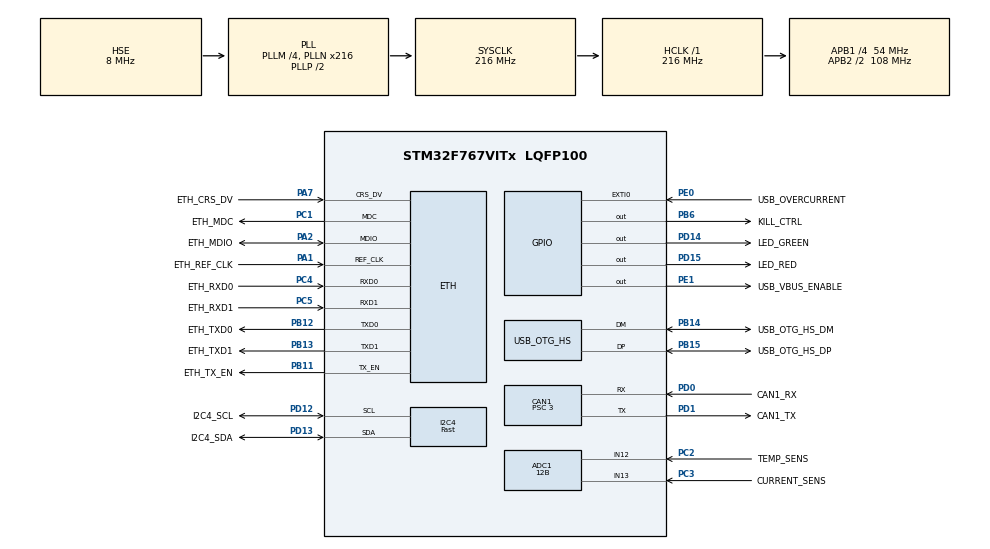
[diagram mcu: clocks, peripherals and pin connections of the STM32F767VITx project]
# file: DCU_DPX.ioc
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ADC1.Channel-0\#ChannelRegularConversion=ADC_CHANNEL_12
ADC1.Channel-1\#ChannelRegularConversion=ADC_CHANNEL_13
ADC1.ClockPrescaler=ADC_CLOCK_SYNC_PCLK_DIV4
ADC1.ContinuousConvMode=DISABLE
ADC1.DMAContinuousRequests=ENABLE
ADC1.DataAlign=ADC_DATAALIGN_RIGHT
ADC1.DiscontinuousConvMode=DISABLE
ADC1.EOCSelection=ADC_EOC_SEQ_CONV
ADC1.EnableAnalogWatchDog=false
ADC1.ExternalTrigConv=ADC_SOFTWARE_START
ADC1.ExternalTrigConvEdge=ADC_EXTERNALTRIGCONVEDGE_NONE
ADC1.InjNumberOfConversion=0
ADC1.NbrOfConversion=2
ADC1.NbrOfConversionFlag=1
ADC1.Rank-0\#ChannelRegularConversion=1
ADC1.Rank-1\#ChannelRegularConversion=2
ADC1.Resolution=ADC_RESOLUTION_12B
ADC1.SamplingTime-0\#ChannelRegularConversion=ADC_SAMPLETIME_56CYCLES
ADC1.SamplingTime-1\#ChannelRegularConversion=ADC_SAMPLETIME_56CYCLES
ADC1.ScanConvMode=ENABLE
ADC1.master=1
CAN1.BS1=CAN_BS1_15TQ
CAN1.BS2=CAN_BS2_2TQ
CAN1.CalculateTimeQuantum=55.55555555555556
CAN1.Prescaler=3
CORTEX_M7.ART_ACCLERATOR_ENABLE=1
CORTEX_M7.CPU_ICache=Disabled
CORTEX_M7.FlashInterface=TCM_Enabled
CORTEX_M7.PREFETCH_ENABLE=1
Dma.ADC1.0.Direction=DMA_PERIPH_TO_MEMORY
Dma.ADC1.0.FIFOMode=DMA_FIFOMODE_DISABLE
Dma.ADC1.0.Instance=DMA2_Stream0
Dma.ADC1.0.MemDataAlignment=DMA_MDATAALIGN_WORD
Dma.ADC1.0.MemInc=DMA_MINC_ENABLE
Dma.ADC1.0.Mode=DMA_NORMAL
Dma.ADC1.0.PeriphDataAlignment=DMA_PDATAALIGN_WORD
Dma.ADC1.0.PeriphInc=DMA_PINC_DISABLE
Dma.ADC1.0.Priority=DMA_PRIORITY_LOW
Dma.Request0=ADC1
ETH.AutoNegotiation=ETH_AUTONEGOTIATION_ENABLE
ETH.MediaInterface=ETH_MEDIA_INTERFACE_RMII
ETH.PhyAddress=0
FATFS._FS_EXFAT=0
FATFS._FS_LOCK=8
FATFS._FS_MINIMIZE=0
FATFS._USE_LABEL=1
FATFS._USE_LFN=0
FATFS._USE_MKFS=0
FATFS._USE_STRFUNC=0
FATFS._VOLUMES=2
I2C4.I2C_Speed_Mode=I2C_Fast
I2C4.OwnAddress=110
I2C4.Timing=0x10A03AC5
LWIP.CHECKSUM_BY_HARDWARE=1
LWIP.GATEWAY_ADDRESS=192.168.001.001
LWIP.IP_ADDRESS=192.168.001.010
LWIP.LWIP_DBG_MIN_LEVEL=LWIP_DBG_MASK_LEVEL
LWIP.LWIP_DHCP=0
LWIP.LWIP_NETIF_LINK_CALLBACK=1
LWIP.LWIP_NETIF_STATUS_CALLBACK=1
LWIP.LWIP_TCP=0
LWIP.MEMP_NUM_PBUF=64
LWIP.MEMP_NUM_TCP_PCB=1
LWIP.MEMP_NUM_UDP_PCB=5
LWIP.MEM_SIZE=9600
LWIP.NETMASK_ADDRESS=255.255.255.000
LWIP.PBUF_POOL_SIZE=64
LWIP.Version=v2.0.3_Cube
Mcu.Family=STM32F7
Mcu.Name=STM32F767VITx
Mcu.Package=LQFP100
NVIC.ADC_IRQn=true\:8\:0\:true\:false\:true\:true
NVIC.CAN1_RX0_IRQn=true\:1\:0\:true\:false\:true\:true
NVIC.CAN1_RX1_IRQn=true\:1\:0\:true\:false\:true\:true
NVIC.CAN1_TX_IRQn=true\:1\:0\:true\:false\:true\:true
NVIC.DMA2_Stream0_IRQn=true\:8\:0\:true\:false\:true\:false
NVIC.ETH_IRQn=true\:2\:0\:true\:false\:true\:true
NVIC.EXTI0_IRQn=true\:0\:0\:true\:false\:true\:true
NVIC.I2C4_ER_IRQn=true\:7\:0\:true\:false\:true\:true
NVIC.I2C4_EV_IRQn=true\:7\:0\:true\:false\:true\:true
NVIC.OTG_HS_EP1_IN_IRQn=true\:3\:0\:true\:false\:true\:true
NVIC.OTG_HS_EP1_OUT_IRQn=true\:3\:0\:true\:false\:true\:true
NVIC.OTG_HS_IRQn=true\:3\:0\:true\:false\:true\:false
NVIC.PriorityGroup=NVIC_PRIORITYGROUP_4
NVIC.TIM5_IRQn=true\:6\:0\:true\:false\:true\:true
NVIC.TIM6_DAC_IRQn=true\:6\:0\:true\:false\:true\:true
NVIC.TIM7_IRQn=true\:5\:0\:true\:false\:true\:true
PA1.GPIO_Label=ETH_REF_CLK
PA1.Mode=RMII
PA1.Signal=ETH_REF_CLK
PA13.GPIO_Label=SWDIO
PA13.Mode=Trace_Asynchronous_SW
PA13.Signal=SYS_JTMS-SWDIO
PA14.GPIO_Label=SWCLK
PA14.Mode=Trace_Asynchronous_SW
PA14.Signal=SYS_JTCK-SWCLK
PA2.GPIO_Label=ETH_MDIO
PA2.Mode=RMII
PA2.Signal=ETH_MDIO
PA7.GPIO_Label=ETH_CRS_DV
PA7.Mode=RMII
PA7.Signal=ETH_CRS_DV
PB11.GPIO_Label=ETH_TX_EN
PB11.Mode=RMII
PB11.Signal=ETH_TX_EN
PB12.GPIO_Label=ETH_TXD0
PB12.Mode=RMII
PB12.Signal=ETH_TXD0
PB13.GPIO_Label=ETH_TXD1
PB13.Mode=RMII
PB13.Signal=ETH_TXD1
PB14.GPIO_Label=USB_OTG_HS_DM
PB14.Mode=Host_FS
PB14.Signal=USB_OTG_HS_DM
PB15.GPIO_Label=USB_OTG_HS_DP
PB15.Mode=Host_FS
PB15.Signal=USB_OTG_HS_DP
PB3.GPIO_Label=SWO
PB3.Mode=Trace_Asynchronous_SW
PB3.Signal=SYS_JTDO-SWO
PB6.GPIO_Label=KILL_CTRL
PB6.Signal=GPIO_Output
PC1.GPIO_Label=ETH_MDC
PC1.Mode=RMII
PC1.Signal=ETH_MDC
PC2.GPIO_Label=TEMP_SENS
PC2.Signal=ADCx_IN12
PC3.GPIO_Label=CURRENT_SENS
PC3.Signal=ADCx_IN13
PC4.GPIO_Label=ETH_RXD0
PC4.Mode=RMII
PC4.Signal=ETH_RXD0
PC5.GPIO_Label=ETH_RXD1
PC5.Mode=RMII
PC5.Signal=ETH_RXD1
PD0.GPIO_Label=CAN1_RX
PD0.Mode=Master
PD0.Signal=CAN1_RX
PD1.GPIO_Label=CAN1_TX
PD1.Mode=Master
PD1.Signal=CAN1_TX
PD12.GPIO_Label=I2C4_SCL
PD12.Mode=I2C
PD12.Signal=I2C4_SCL
PD13.GPIO_Label=I2C4_SDA
PD13.Mode=I2C
PD13.Signal=I2C4_SDA
PD14.GPIO_Label=LED_GREEN
PD14.Signal=GPIO_Output
PD15.GPIO_Label=LED_RED
PD15.Signal=GPIO_Output
PE0.GPIO_Label=USB_OVERCURRENT
PE0.Signal=GPXTI0
PE1.GPIO_Label=USB_VBUS_ENABLE
PE1.Signal=GPIO_Output
PH0/OSC_IN.GPIO_Label=OSC_IN
PH0/OSC_IN.Mode=HSE-External-Oscillator
PH0/OSC_IN.Signal=RCC_OSC_IN
PH1/OSC_OUT.GPIO_Label=OSC_OUT
PH1/OSC_OUT.Mode=HSE-External-Oscillator
PH1/OSC_OUT.Signal=RCC_OSC_OUT
ProjectManager.HeapSize=0x1000
ProjectManager.StackSize=0x1200
ProjectManager.TargetToolchain=MDK-ARM V5
RCC.AHBFreq_Value=216000000
RCC.APB1CLKDivider=RCC_HCLK_DIV4
RCC.APB1Freq_Value=54000000
RCC.APB1TimFreq_Value=108000000
RCC.APB2CLKDivider=RCC_HCLK_DIV2
RCC.APB2Freq_Value=108000000
RCC.APB2TimFreq_Value=216000000
RCC.CortexFreq_Value=216000000
RCC.HCLKFreq_Value=216000000
RCC.HSE_VALUE=8000000
RCC.HSI_VALUE=16000000
RCC.I2C4CLockSelection=RCC_I2C4CLKSOURCE_SYSCLK
RCC.LSE_VALUE=32768
RCC.LockedElements=AHBOutput,EthernetPtpOutput,HCLKOutput,CortexSysOutput,FCLKCortexOutput,APB1Output,TimPrescOut1,APB2Output,TimPrescOut2,USBoutput
RCC.PLL48CLockSelection=RCC_CLK48SOURCE_PLLSAIP
RCC.PLLM=4
RCC.PLLN=216
RCC.PLLSAIP=RCC_PLLSAIP_DIV8
RCC.SDMMCClockSelection=RCC_SDMMC1CLKSOURCE_CLK48
RCC.SYSCLKFreq_VALUE=216000000
RCC.SYSCLKSource=RCC_SYSCLKSOURCE_PLLCLK
RCC.USART1CLockSelection=RCC_USART1CLKSOURCE_SYSCLK
RCC.USBFreq_Value=48000000
RCC.VCOOutputFreq_Value=432000000
RTC.AsynchPrediv=124
RTC.Date=8
RTC.Hours=12
RTC.Month=RTC_MONTH_JUNE
RTC.WeekDay=RTC_WEEKDAY_FRIDAY
RTC.Year=18
SH.ADCx_IN12.0=ADC1_IN12,IN12
SH.ADCx_IN13.0=ADC1_IN13,IN13
TIM5.Period=1079
TIM5.Prescaler=9999
TIM6.Period=10799
TIM6.Prescaler=9999
TIM7.Period=1079
TIM7.Prescaler=999
USB_HOST.BSP.number=1
USB_HOST.USBH_HandleTypeDef-MSC_HS=hUsbHostHS
USB_HOST.USBH_MAX_SIZE_CONFIGURATION-MSC_HS=512
USB_HOST.VirtualModeHS=Msc
USB_HOST0.BSP.STBoard=false
USB_HOST0.BSP.api=Unknown
USB_HOST0.BSP.i2caddr=0
USB_HOST0.BSP.instance=PE1
USB_HOST0.BSP.ip=GPIO
USB_HOST0.BSP.mode=Output
USB_HOST0.BSP.name=Drive_VBUS_HS
USB_HOST0.BSP.solution=PE1
USB_OTG_HS.VirtualMode-Host_FS=Host_FS
USB_OTG_HS.dma_enable-Host_FS=ENABLE
VP_FATFS_VS_USB.Mode=USB
VP_LWIP_VS_Enabled.Mode=Enabled
VP_RTC_VS_RTC_Activate.Mode=RTC_Enabled
VP_RTC_VS_RTC_Calendar.Mode=RTC_Calendar
VP_TIM5_VS_ClockSourceINT.Mode=Internal
VP_TIM6_VS_ClockSourceINT.Mode=Enable_Timer
VP_TIM7_VS_ClockSourceINT.Mode=Enable_Timer
VP_USB_HOST_VS_USB_HOST_MSC_HS.Mode=MSC_HS
board=DCU_DPX

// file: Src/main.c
/**
  ******************************************************************************
  * @file           : main.c
  * @brief          : Main program body
  ******************************************************************************
  * This notice applies to any and all portions of this file
  * that are not between comment pairs USER CODE BEGIN and
  * USER CODE END. Other portions of this file, whether
  * inserted by the user or by software development tools
  * are owned by their respective copyright owners.
  *
  * Copyright (c) 2018 STMicroelectronics International N.V.
  * All rights reserved.
  *
  * Redistribution and use in source and binary forms, with or without
  * modification, are permitted, provided that the following conditions are met:
  *
  * 1. Redistribution of source code must retain the above copyright notice,
  *    this list of conditions and the following disclaimer.
  * 2. Redistributions in binary form must reproduce the above copyright notice,
  *    this list of conditions and the following disclaimer in the documentation
  *    and/or other materials provided with the distribution.
  * 3. Neither the name of STMicroelectronics nor the names of other
  *    contributors to this software may be used to endorse or promote products
  *    derived from this software without specific written permission.
  * 4. This software, including modifications and/or derivative works of this
  *    software, must execute solely and exclusively on microcontroller or
  *    microprocessor devices manufactured by or for STMicroelectronics.
  * 5. Redistribution and use of this software other than as permitted under
  *    this license is void and will automatically terminate your rights under
  *    this license.
  *
  * THIS SOFTWARE IS PROVIDED BY STMICROELECTRONICS AND CONTRIBUTORS "AS IS"
  * AND ANY EXPRESS, IMPLIED OR STATUTORY WARRANTIES, INCLUDING, BUT NOT
  * LIMITED TO, THE IMPLIED WARRANTIES OF MERCHANTABILITY, FITNESS FOR A
  * PARTICULAR PURPOSE AND NON-INFRINGEMENT OF THIRD PARTY INTELLECTUAL PROPERTY
  * RIGHTS ARE DISCLAIMED TO THE FULLEST EXTENT PERMITTED BY LAW. IN NO EVENT
  * SHALL STMICROELECTRONICS OR CONTRIBUTORS BE LIABLE FOR ANY DIRECT, INDIRECT,
  * INCIDENTAL, SPECIAL, EXEMPLARY, OR CONSEQUENTIAL DAMAGES (INCLUDING, BUT NOT
  * LIMITED TO, PROCUREMENT OF SUBSTITUTE GOODS OR SERVICES; LOSS OF USE, DATA,
  * OR PROFITS; OR BUSINESS INTERRUPTION) HOWEVER CAUSED AND ON ANY THEORY OF
  * LIABILITY, WHETHER IN CONTRACT, STRICT LIABILITY, OR TORT (INCLUDING
  * NEGLIGENCE OR OTHERWISE) ARISING IN ANY WAY OUT OF THE USE OF THIS SOFTWARE,
  * EVEN IF ADVISED OF THE POSSIBILITY OF SUCH DAMAGE.
  *
  ******************************************************************************
  */
#include "main.h"
#include "stm32f7xx_hal.h"
#include "adc.h"
#include "can.h"
#include "dma.h"
#include "fatfs.h"
#include "i2c.h"
#include "lwip.h"
#include "rtc.h"
#include "tim.h"
#include "usb_host.h"
#include "gpio.h"

/* USER CODE BEGIN Includes */

// Default value of ETH_RXBUFNB is 4U: it must be icrease to 16U. But the CubeMX can't change this value with any graphical tool.
// It must change it manually for every compile.

#include "user_defines.h"
#include "telemetry_command.h"
#include "system.h"
#include "usbh_platform.h"
#include "data.h"
#include "user_usb.h"
//#include "user_sd.h"
#include "user_ethernet_udp.h"
#include "bno055.h"
#include "string_utility.h"
#include "can_id_defines.h"

/* USER CODE END Includes */

/* USER CODE BEGIN PV */
/* Private variables ---------------------------------------------------------*/

/* USER CODE END PV */

void SystemClock_Config(void);
void MX_USB_HOST_Process(void);

/* USER CODE BEGIN PFP */
/* Private function prototypes -----------------------------------------------*/

/* USER CODE END PFP */

int main(void)
{
  /* USER CODE BEGIN 1 */

  MPU_Config();
  CPU_Cache_Enable();

  /* USER CODE END 1 */

  /* MCU Configuration----------------------------------------------------------*/

  /* Reset of all peripherals, Initializes the Flash interface and the Systick. */
  HAL_Init();

  /* Configure the system clock */
  SystemClock_Config();

  /* Initialize all configured peripherals */
  MX_GPIO_Init();
  MX_DMA_Init();
  MX_TIM5_Init();
  MX_TIM6_Init();
  MX_TIM7_Init();
  MX_RTC_Init();
  MX_ADC1_Init();
  MX_CAN1_Init();
  MX_USB_HOST_Init();
  MX_FATFS_Init();
  MX_LWIP_Init();
  MX_I2C4_Init();
  /* USER CODE BEGIN 2 */

  HAL_GPIO_WritePin(KILL_CTRL_GPIO_Port, KILL_CTRL_Pin, GPIO_PIN_SET);
  HAL_GPIO_WritePin(LED_GREEN_GPIO_Port, LED_GREEN_Pin, GPIO_PIN_RESET);
  HAL_GPIO_WritePin(LED_RED_GPIO_Port, LED_RED_Pin, GPIO_PIN_RESET);
  MX_DriverVbusHS(USB_VBUS_ENABLE);
  CAN1_Start();
  //CAN3_Start();
  //set_Rtc_Time((uint8_t)18, (uint8_t)45, (uint8_t)0);
  //SD_Check_And_Init();
  UDP_Init();
  initialize_Data();
  BNO055_Init();
  dcu_Debug_Get_Data();
  HAL_Delay(250);
  HAL_TIM_Base_Start_IT(&htim5);
  HAL_TIM_Base_Start_IT(&htim6);

  /* USER CODE END 2 */

  /* Infinite loop */
  /* USER CODE BEGIN WHILE */
  while (1)
  {
    if(start_Acquisition_Request == START_ACQUISITION_REQUEST)
    {
      start_Acquisition_Request = START_ACQUISITION_DONE;

			if(dcu_State_Packet[DCU_STATE_PACKET_ACQUISITION_ON] == UDP_DCU_STATE_ERROR)
			{
				USB_Open_File();

				if(dcu_State_Packet[DCU_STATE_PACKET_ACQUISITION_ON] == UDP_DCU_STATE_OK)
				{
						HAL_TIM_Base_Start_IT(&htim7);
            CAN_Set_Dcu_Is_Alive_Packet();
				}
			}
    }

    else if(start_Acquisition_Request == STOP_ACQUISITION_REQUEST)
    {
      start_Acquisition_Request = START_ACQUISITION_DONE;

			if(dcu_State_Packet[DCU_STATE_PACKET_ACQUISITION_ON] == UDP_DCU_STATE_OK)
			{
        HAL_TIM_Base_Stop_IT(&htim7);
				USB_Close_File();

        if(dcu_State_Packet[DCU_STATE_PACKET_ACQUISITION_ON] == UDP_DCU_STATE_ERROR)
        {
            CAN_Set_Dcu_Is_Not_Alive_Packet();
        }
			}
    }

  /* USER CODE END WHILE */
    MX_USB_HOST_Process();

  /* USER CODE BEGIN 3 */

    MX_LWIP_Process();
    UDP_Send_Processig();
    UDP_Receive_Processig();
  }

  /* USER CODE END 3 */

}

void SystemClock_Config(void)
{

  RCC_OscInitTypeDef RCC_OscInitStruct;
  RCC_ClkInitTypeDef RCC_ClkInitStruct;
  RCC_PeriphCLKInitTypeDef PeriphClkInitStruct;

    /**Configure the main internal regulator output voltage
    */
  __HAL_RCC_PWR_CLK_ENABLE();

  __HAL_PWR_VOLTAGESCALING_CONFIG(PWR_REGULATOR_VOLTAGE_SCALE1);

    /**Initializes the CPU, AHB and APB busses clocks
    */
  RCC_OscInitStruct.OscillatorType = RCC_OSCILLATORTYPE_LSI|RCC_OSCILLATORTYPE_HSE;
  RCC_OscInitStruct.HSEState = RCC_HSE_ON;
  RCC_OscInitStruct.LSIState = RCC_LSI_ON;
  RCC_OscInitStruct.PLL.PLLState = RCC_PLL_ON;
  RCC_OscInitStruct.PLL.PLLSource = RCC_PLLSOURCE_HSE;
  RCC_OscInitStruct.PLL.PLLM = 4;
  RCC_OscInitStruct.PLL.PLLN = 216;
  RCC_OscInitStruct.PLL.PLLP = RCC_PLLP_DIV2;
  RCC_OscInitStruct.PLL.PLLQ = 2;
  if (HAL_RCC_OscConfig(&RCC_OscInitStruct) != HAL_OK)
  {
    _Error_Handler(__FILE__, __LINE__);
  }

    /**Activate the Over-Drive mode
    */
  if (HAL_PWREx_EnableOverDrive() != HAL_OK)
  {
    _Error_Handler(__FILE__, __LINE__);
  }

    /**Initializes the CPU, AHB and APB busses clocks
    */
  RCC_ClkInitStruct.ClockType = RCC_CLOCKTYPE_HCLK|RCC_CLOCKTYPE_SYSCLK
                              |RCC_CLOCKTYPE_PCLK1|RCC_CLOCKTYPE_PCLK2;
  RCC_ClkInitStruct.SYSCLKSource = RCC_SYSCLKSOURCE_PLLCLK;
  RCC_ClkInitStruct.AHBCLKDivider = RCC_SYSCLK_DIV1;
  RCC_ClkInitStruct.APB1CLKDivider = RCC_HCLK_DIV4;
  RCC_ClkInitStruct.APB2CLKDivider = RCC_HCLK_DIV2;

  if (HAL_RCC_ClockConfig(&RCC_ClkInitStruct, FLASH_LATENCY_7) != HAL_OK)
  {
    _Error_Handler(__FILE__, __LINE__);
  }

  PeriphClkInitStruct.PeriphClockSelection = RCC_PERIPHCLK_RTC|RCC_PERIPHCLK_I2C4
                              |RCC_PERIPHCLK_CLK48;
  PeriphClkInitStruct.PLLSAI.PLLSAIN = 192;
  PeriphClkInitStruct.PLLSAI.PLLSAIR = 2;
  PeriphClkInitStruct.PLLSAI.PLLSAIQ = 2;
  PeriphClkInitStruct.PLLSAI.PLLSAIP = RCC_PLLSAIP_DIV8;
  PeriphClkInitStruct.PLLSAIDivQ = 1;
  PeriphClkInitStruct.PLLSAIDivR = RCC_PLLSAIDIVR_2;
  PeriphClkInitStruct.RTCClockSelection = RCC_RTCCLKSOURCE_LSI;
  PeriphClkInitStruct.I2c4ClockSelection = RCC_I2C4CLKSOURCE_SYSCLK;
  PeriphClkInitStruct.Clk48ClockSelection = RCC_CLK48SOURCE_PLLSAIP;
  if (HAL_RCCEx_PeriphCLKConfig(&PeriphClkInitStruct) != HAL_OK)
  {
    _Error_Handler(__FILE__, __LINE__);
  }

    /**Configure the Systick interrupt time
    */
  HAL_SYSTICK_Config(HAL_RCC_GetHCLKFreq()/1000);

    /**Configure the Systick
    */
  HAL_SYSTICK_CLKSourceConfig(SYSTICK_CLKSOURCE_HCLK);

  /* SysTick_IRQn interrupt configuration */
  HAL_NVIC_SetPriority(SysTick_IRQn, 0, 0);
}

/* USER CODE BEGIN 4 */

//1 Hz
extern inline void TIM6_IRQ_User_Handler(void)
{
  dcu_Debug_Get_Data();
  CAN_Send_Dcu_Debug_Pakcet();

  if(dcu_State_Packet[DCU_STATE_PACKET_TELEMETRY_ON] == UDP_DCU_STATE_OK)
	{
		UDP_Send_Queue(UDP_DCU_STATE_PORT, dcu_State_Packet, BUFFER_STATE_LEN);
    UDP_Send_Queue(UDP_TELEMETRY_DEBUG_PORT, dcu_Debug_Packet, BUFFER_DEBUG_LEN);
	}
}

//10 Hz
extern inline void TIM5_IRQ_User_Handler(void)
{
  HAL_GPIO_TogglePin(LED_GREEN_GPIO_Port, LED_GREEN_Pin);

  if(dcu_State_Packet[DCU_STATE_PACKET_TELEMETRY_ON] == UDP_DCU_STATE_OK)
	{
		if(dcu_State_Packet[DCU_STATE_PACKET_ACQUISITION_ON] == UDP_DCU_STATE_ERROR)
		{
			BNO055_Imu_Read_Data();
			Imu_Dcu_Conversion_To_Buffer();
		}

		//make_Data_Average();
		buffer_Telemetry_Pointer = (buffer_Telemetry_Pointer + BUFFER_LEN - 1) % BUFFER_LEN;
		UDP_Send_Queue(UDP_TELEMETRY_DATA_PORT, block_Buffer[buffer_Telemetry_Pointer], BUFFER_BLOCK_LEN);
	}
}

//100 Hz
extern inline void TIM7_IRQ_User_Handler(void)
{
  uint32_To_String(USB_Timestamp, block_Buffer[buffer_Write_Pointer], 7);
  USB_Timestamp += 10;
	BNO055_Imu_Read_Data();
	Imu_Dcu_Conversion_To_Buffer();
	buffer_Write_Pointer = (buffer_Write_Pointer + 1) % BUFFER_LEN;
  USB_Write_Block(block_Buffer[buffer_Read_Pointer]);
	prepare_Next_Buffer_Block(buffer_Read_Pointer, buffer_Write_Pointer);
	buffer_Read_Pointer = (buffer_Read_Pointer + 1) % BUFFER_LEN;

	if((USB_Timestamp % CLOSE_FILE_INTERVAL) == 0)
	{
		USB_Close_And_Open_File();
	}
}

void HAL_GPIO_EXTI_Callback(uint16_t GPIO_Pin)
{
  if(HAL_GPIO_ReadPin(USB_OVERCURRENT_GPIO_Port, USB_OVERCURRENT_Pin) == GPIO_PIN_RESET)
  {
    MX_DriverVbusHS(USB_VBUS_DISABLE);
    HAL_GPIO_WritePin(LED_RED_GPIO_Port, LED_RED_Pin, GPIO_PIN_RESET);
    dcu_State_Packet[DCU_STATE_PACKET_USB_READY] = UDP_DCU_STATE_ERROR;
    UDP_Send_Error(USB_OVERCURRENT);
  }
}

/* USER CODE END 4 */

void _Error_Handler(char *file, int line)
{
  /* USER CODE BEGIN Error_Handler_Debug */
  /* User can add his own implementation to report the HAL error return state */

  HAL_GPIO_WritePin(LED_GREEN_GPIO_Port, LED_GREEN_Pin, GPIO_PIN_RESET);
  HAL_GPIO_WritePin(LED_RED_GPIO_Port, LED_RED_Pin, GPIO_PIN_RESET);

  while(1)
  {
    HAL_GPIO_TogglePin(LED_RED_GPIO_Port, LED_RED_Pin);
    HAL_Delay(40);
  }

  /* USER CODE END Error_Handler_Debug */
}

/************************ (C) COPYRIGHT STMicroelectronics *****END OF FILE****/
